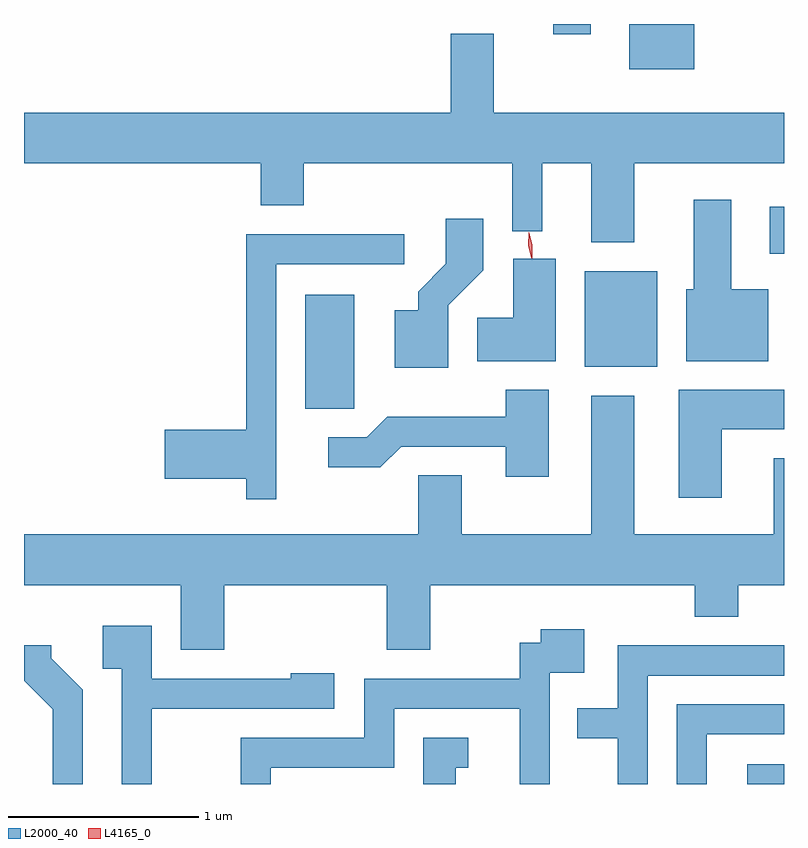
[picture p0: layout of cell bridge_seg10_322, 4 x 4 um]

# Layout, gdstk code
import gdstk
lib = gdstk.Library(unit=1e-6, precision=1e-09)
def R(c, l, rs):  # rectangles x0, y0, x1, y1
    for r in rs: c.add(gdstk.rectangle(r[:2], r[2:], *l))
def P(c, l, *ps):  # polygons
    for p in ps: c.add(gdstk.Polygon(p, *l))
L2000_40 = (2000, 40)
L4165_0 = (4165, 0)

bridge_seg10_322 = lib.new_cell('bridge_seg10_322')
R(bridge_seg10_322, L2000_40, [(1343.903,2152.83,1344.096,2152.934), (1341.576,2154.806,1341.834,2155.404), (1343.046,2155.026,1343.429,2155.529), (1344.021,2155.621,1344.096,2155.869), (1343.281,2156.591,1343.624,2156.83), (1342.881,2156.776,1343.079,2156.83)])
P(bridge_seg10_322, L2000_40, [(1343.309,2156.096),(1344.096,2156.096),(1344.096,2156.364),(1342.569,2156.364),(1342.569,2156.779),(1342.341,2156.779),(1342.341,2156.364),(1340.096,2156.364),(1340.096,2156.096),(1341.341,2156.096),(1341.341,2155.876),(1341.569,2155.876),(1341.569,2156.096),(1342.666,2156.096),(1342.666,2155.738),(1342.824,2155.738),(1342.824,2156.096),(1343.081,2156.096),(1343.081,2155.681),(1343.309,2155.681)],
  [(1344.014,2155.434),(1343.819,2155.434),(1343.819,2155.904),(1343.621,2155.904),(1343.621,2155.434),(1343.581,2155.434),(1343.581,2155.056),(1344.014,2155.056)],
  [(1342.329,2155.349),(1342.514,2155.534),(1342.514,2155.804),(1342.316,2155.804),(1342.316,2155.567),(1342.171,2155.422),(1342.171,2155.324),(1342.046,2155.324),(1342.046,2155.021),(1342.329,2155.021)],
  [(1341.424,2155.566),(1342.098,2155.566),(1342.098,2155.724),(1341.266,2155.724),(1341.266,2154.694),(1340.836,2154.694),(1340.836,2154.436),(1341.266,2154.436),(1341.266,2154.328),(1341.424,2154.328)],
  [(1342.894,2155.594),(1342.671,2155.594),(1342.671,2155.284),(1342.481,2155.284),(1342.481,2155.056),(1342.894,2155.056)],
  [(1342.859,2154.904),(1342.631,2154.904),(1342.631,2154.764),(1342.009,2154.764),(1341.899,2154.654),(1341.698,2154.654),(1341.698,2154.496),(1341.972,2154.496),(1342.082,2154.606),(1342.631,2154.606),(1342.631,2154.446),(1342.859,2154.446)],
  [(1343.769,2154.696),(1344.096,2154.696),(1344.096,2154.904),(1343.541,2154.904),(1343.541,2154.336),(1343.769,2154.336)],
  [(1340.096,2153.876),(1340.921,2153.876),(1340.921,2153.536),(1341.149,2153.536),(1341.149,2153.876),(1342.006,2153.876),(1342.006,2153.536),(1342.234,2153.536),(1342.234,2153.876),(1343.626,2153.876),(1343.626,2153.711),(1343.854,2153.711),(1343.854,2153.876),(1344.096,2153.876),(1344.096,2154.544),(1344.041,2154.544),(1344.041,2154.144),(1343.309,2154.144),(1343.309,2154.874),(1343.081,2154.874),(1343.081,2154.144),(1342.399,2154.144),(1342.399,2154.454),(1342.171,2154.454),(1342.171,2154.144),(1340.096,2154.144)],
  [(1340.769,2153.226),(1341.729,2153.226),(1341.729,2153.414),(1341.501,2153.414),(1341.501,2153.384),(1340.769,2153.384),(1340.769,2153.664),(1340.511,2153.664),(1340.511,2153.436),(1340.611,2153.436),(1340.611,2152.83),(1340.769,2152.83)],
  [(1341.394,2152.916),(1342.044,2152.916),(1342.044,2153.226),(1342.706,2153.226),(1342.706,2152.83),(1342.864,2152.83),(1342.864,2153.416),(1343.044,2153.416),(1343.044,2153.644),(1342.816,2153.644),(1342.816,2153.574),(1342.706,2153.574),(1342.706,2153.384),(1341.886,2153.384),(1341.886,2153.074),(1341.236,2153.074),(1341.236,2152.83),(1341.394,2152.83)],
  [(1343.379,2153.401),(1344.096,2153.401),(1344.096,2153.559),(1343.221,2153.559),(1343.221,2153.229),(1343.008,2153.229),(1343.008,2153.071),(1343.221,2153.071),(1343.221,2152.83),(1343.379,2152.83)],
  [(1340.404,2153.327),(1340.239,2153.492),(1340.239,2153.559),(1340.096,2153.559),(1340.096,2153.374),(1340.246,2153.224),(1340.246,2152.83),(1340.404,2152.83)],
  [(1343.689,2153.091),(1344.096,2153.091),(1344.096,2153.249),(1343.531,2153.249),(1343.531,2152.83),(1343.689,2152.83)],
  [(1342.369,2152.916),(1342.433,2152.916),(1342.433,2153.074),(1342.196,2153.074),(1342.196,2152.83),(1342.369,2152.83)])
P(bridge_seg10_322, L4165_0, [(1342.769,2155.597),(1342.768,2155.598),(1342.751,2155.665),(1342.752,2155.734),(1342.753,2155.735),(1342.753,2155.734),(1342.771,2155.668),(1342.77,2155.598)],
  [(1342.767,2155.6),(1342.751,2155.664),(1342.753,2155.731),(1342.753,2155.731),(1342.754,2155.731),(1342.77,2155.667),(1342.768,2155.6),(1342.768,2155.6)])

lib.write_gds('bridge_seg10_322.gds')
